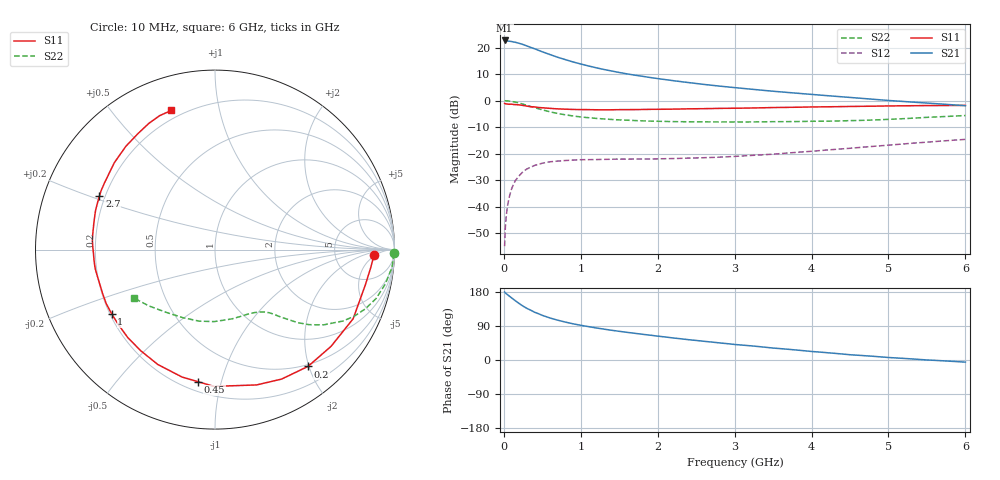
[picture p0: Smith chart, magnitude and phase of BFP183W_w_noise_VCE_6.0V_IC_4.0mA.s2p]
! Infineon Technologies  Discrete & RF Semiconductors
! BFP183W
! VCE =  6.0 V,  IC =  4.0 mA
! Common Emitter S-Parameters:  Jan 2017
# GHz  S  MA  R  50
!  f  S11  S21  S12  S22
! GHz  MAG  ANG  MAG  ANG  MAG  ANG  MAG  ANG
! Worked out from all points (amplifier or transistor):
!   77 points, 10 MHz to 6 GHz, reference 50 ohm
!   highest |S21| = 22.7 dB at 10 MHz (marker M1)
!   |S21| within 3 dB of that: start of sweep to 386.5 MHz
!   unconditionally stable (mu >= 1): 2.392 GHz to 4.448 GHz
!   at 130 MHz: K = 0.07, MSG = 26.7 dB, |S12| = -31.3 dB
!   at 2.2 GHz: K = 0.96, MSG = 14.7 dB, |S12| = -21.9 dB
!   at 6 GHz: K = 0.80, MSG = 6.4 dB, |S12| = -14.6 dB
!   lowest NFmin = 0.73 dB at 450 MHz
!   S11 on the Smith chart (normalised r, x): 10 MHz: 15, -4; 200 MHz: 0.47, -1.98; 450 MHz: 0.26, -0.85; 1 GHz: 0.21, -0.27; 2.7 GHz: 0.18, +0.21; 6 GHz: 0.16, +0.72
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0.01  0.8865 -2.0  13.64 179.4  0.0018 81.2  0.9986 -1.2
0.02  0.8733 -6.7  13.61 176.8  0.0042 85.3  0.995 -2.5
0.04  0.8635 -11.0  13.44 173.6  0.0085 82.9  0.9917 -4.8
0.1  0.8607 -26.6  13.04 164.0  0.0214 76.6  0.9676 -11.5
0.15  0.8418 -39.8  12.59 156.3  0.0311 69.3  0.938 -16.9
0.2  0.8319 -51.5  12.04 148.9  0.0384 63.8  0.9004 -21.5
0.25  0.8112 -62.8  11.43 142.1  0.0458 58.4  0.8588 -25.7
0.3  0.7888 -72.9  10.74 136.2  0.0514 53.2  0.8159 -29.2
0.4  0.7622 -90.4  9.505 126.0  0.06 45.7  0.7365 -34.7
0.45  0.7421 -97.3  8.9 122.2  0.0629 42.5  0.7029 -36.6
0.6  0.715 -116.5  7.393 110.9  0.0703 35.6  0.6158 -41.4
0.7  0.699 -126.3  6.575 105.1  0.0723 32.5  0.5725 -43.3
0.8  0.6902 -134.7  5.931 100.0  0.0743 30.4  0.5398 -44.9
1  0.678 -148.1  4.909 91.6  0.0769 27.2  0.4924 -47.4
1.1  0.6767 -153.6  4.511 88.1  0.0771 26.1  0.4765 -48.4
1.5  0.676 -171.0  3.397 75.7  0.079 24.5  0.4333 -53.3
2.1  0.6884 169.8  2.492 60.7  0.0803 27.3  0.405 -62.2
2.7  0.7095 155.1  1.951 47.4  0.0848 32.6  0.3971 -74.0
3.1  0.722 146.8  1.705 39.3  0.0905 36.6  0.3961 -82.2
4.1  0.7624 129.3  1.276 21.0  0.114 43.4  0.4086 -105.0
5.1  0.7963 116.6  0.985 5.4  0.1487 44.5  0.4502 -130.6
6  0.8128 107.4  0.803 -5.6  0.1859 41.4  0.5246 -148.8
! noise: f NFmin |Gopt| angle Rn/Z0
0.45  0.73  0.32  50  0.29
0.9  0.9  0.29  94  0.14
1.9  1.5  0.43  165  0.08
2.4  1.78  0.48  179  0.08
